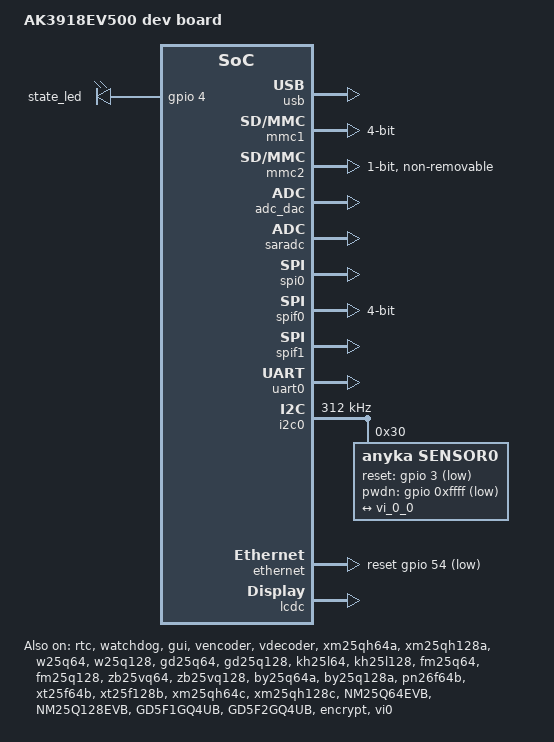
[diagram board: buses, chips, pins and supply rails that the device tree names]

/*
 * AK3918EV500 dev board dts
 *
 * Copyright (C) 2018 Anyka(Guangzhou) Microelectronics Technology Co., Ltd.
 *
 * Author: Feilong Dong <dong_feilong@anyka.com>
 *
 * This program is free software; you can redistribute it and/or modify
 * it under the terms of the GNU General Public License as published by
 * the Free Software Foundation; either version 2 of the License, or
 * (at your option) any later version.
 *
 * This program is distributed in the hope that it will be useful,
 * but WITHOUT ANY WARRANTY; without even the implied warranty of
 * MERCHANTABILITY or FITNESS FOR A PARTICULAR PURPOSE.  See the
 * GNU General Public License for more details.
 */

/dts-v1/;
#include "anycloud_ak37d.dtsi"
#include "anycloud_ak37d_lcd.dtsi"
#include "anycloud_ak37d_norflash.dtsi"
#include "anycloud_ak37d_nandflash1.dtsi"

/ {
    compatible = "anyka,ak3918ev500";
    model = "AK3918EV500 dev board";
	version = "V1.0.02";
};

&gpio {
    /* anyka,function sharepin func index according to table 2-1 sharepin-list */
    /* index: 0: PIN default func, 1: FUNCTION1, 2: FUNCTION2, 3: FUNCTION3, 4: FUNCTION4 */
    /* anyka,pull config value bit[31:24]--slew rate, bit[23:16]--ie, bit[15:8]--drive, bit[7:0]--pupd config */
    /* bit[31:24]--slew rate, 0: slow, 1: fast */
    /* bit[23:16]--ie, input enable, 0: disable, 1: enable */
    /* bit[15:8]--drive, drive strength, 4levels value: 0x0-0x3 */
    /* bit[7:0]--bit[7]: open drain 0:disable, 1:enable (only for gpio31/32);
				pupd config, bit[6:4] 1:enable/ 0:disable, bit[3:0] 0:select PU /1:select PD */

    dvp0_12bits_pins: dvp0_12bits_pins {
        anyka,pins = <25 26 27 28 111 112 113 114 115 116 117 118 119 120 121 122>;
        anyka,function = <1>;
        anyka,pull = <0x01010310>;
    };

    dvp0_10bits_pins: dvp0_10bits_pins {
        anyka,pins = <25 26 27 28 111 112 113 114 115 116 117 118 119 120 121 122>;
        anyka,function = <1>;
        anyka,pull = <0x01010310>;
    };

    dvp0_8bits_pins: dvp0_8bits_pins {
        anyka,pins = <25 26 27 28 111 112 113 114 115 116 117 118 119 120 121 122>;
        anyka,function = <1>;
        anyka,pull = <0x01010310>;
    };

    mipi0_2lane_pins: mipi0_2lane_pins {
        anyka,pins = <25 111 112 113 114 115 116>;
        anyka,function = <1 2 2 2 2 2 2>;
        anyka,pull = <0x01010310>;
    };

    mipi0_1lane_pins: mipi0_1lane_pins {
        anyka,pins = <25 111 112 113 114>;
        anyka,function = <1 2 2 2 2>;
        anyka,pull = <0x01010310>;
    };

    mipi1_2lane_pins: mipi1_2lane_pins {
        anyka,pins = <26 117 118 119 120 121 122>;
        anyka,function = <1 2 2 2 2 2 2>;
        anyka,pull = <0x01010310>;
    };

    mipi1_1lane_pins: mipi1_1lane_pins {
        anyka,pins = <26 117 118 119 120>;
        anyka,function = <1 2 2 2 2>;
        anyka,pull = <0x01010310>;
    };

    csi0_sclk_pin: csi0_sclk_pin {
        anyka,pins = <25>;
        anyka,function = <1>;
        anyka,pull = <0x01010310>;
    };

    csi1_sclk_pin: csi1_sclk_pin {
        anyka,pins = <26>;
        anyka,function = <1>;
        anyka,pull = <0x01010310>;
    };

    i2c0_pins: i2c0_pins {
        anyka,pins = <31 32>;
        anyka,function = <1>;
        anyka,pull = <0x01010380>;
        //anyka,pull = <0x01011110>;
    };
    mci0_pins: mci0_pins {
        anyka,pins = <33 34 35 36 37 38 39 40 41 42>;
        anyka,function = <1>;
        anyka,pull = <0x10010 0x10010 0x10010 0x10010 0x10010 0x10010 0x10010 0x10010 0x10010 0x10010>;/* 4 line */ 
    };

    mci1_pins: mci1_pins {
        anyka,pins = <43 44 45 46 47 48>;
        anyka,function = <1>;
        anyka,pull = <0x10010 0x10000 0x10010 0x10010 0x10010 0x10010>; /* 4 line */

        /* 1 line */
        /*
        anyka,pins = <43 44 45>;
        anyka,function = <1>;
        anyka,pull = <0x10010 0x10000 0x10010>;*/
    };
    
    mci1_idle_pins:mci1_idle_pins{
	anyka,pins = <43 44 45 46 47 48>;
	anyka,function = <0>;
	anyka,pull = <0x00000>; /* 4 line */
    };

    mci2_pins: mci2_pins {
    	/*
        anyka,pins = <91 92 93 94 95 96>;
        anyka,function = <2 2 3 3 3 3>;
        anyka,pull = <0x01010010 0x01010010 0x01010010 0x01010010 0x01010010 0x01010010>;
    	*/
	// 1 line with D[1] as sdio interrupt pin
        anyka,pins = <93 94 95 96>;
        anyka,function = <3>;
        anyka,pull = <0x01010010 0x01010010 0x01010010 0x01010010>;
    };

    tf_en_pins:tf_en_pins{
        anyka,pins = <5>;
	anyka,function = <0>;
        anyka,pull = <0x01000301>;
    };

    wifi_en_pins:wifi_en_pins{
        anyka,pins = <97>;
	    anyka,function = <0>;
        anyka,pull = <0x01000310>;
    };

 

    spiflash_pins: spiflash_pins {
        anyka,pins = <12 3 67 68 69 70>; /* 4 LINE mode, 12 is spi nor cs, 3 is spinand cs*/
        anyka,function = <1 0 0 0 0 0>;
        anyka,pull = <0x01010010>;
    };

    lcd_reset_pins: lcd_reset_pins {
	    anyka,pins = <83>;
	    anyka,function = <0>;
        anyka,pull = <0x01000310>;
    };

	gpiokey_pins:gpiokey_pins {
			anyka,pins = <98>;
			anyka,function = <0>;
			anyka,pull = <0x01010010>;
		};
				
    /*speak_en and linein_detect gpio setting */
    speak_pins: speak_pins {
        anyka,pins = <53>; 
        anyka,function = <0>;
        anyka,pull = <0x01010010>;
    };
    
    uart0_pins: uart0_pins {
        anyka,pins = <1 2>;
        anyka,function = <1>;
        anyka,pull = <0x01010010>;
    };
    
	phy_reset_pins: phy_reset_pins {		
		anyka,pins = <54>;		
	    anyka,function = <0>;
        anyka,pull = <0x01000010>;
    };

    ethernet_pins_rmii: ethernet_pins_rmii {
		anyka,pins 		= <10 11 13 14 15 19 20 23 24 49>;
        anyka,function 	= <1>;
        anyka,pull = <0x01010011 0x01010010 0x01010011 0x01010011 0x01010011 0x01010011 0x01010011 0x01010011 0x01010011 0x01010210>;
    };

    led_pins:led_pins {
        anyka,pins = <4>;
        anyka,function = <0>;
        anyka,pull = <0x00000010>;
    };
};

&rtc {
	 /*
	  * rtc osc_source_select, 1 means INTERNAL RC OSC, 0 means EXTERNAL XTAL
	  * if internal RC OSC is used to generate 32KH,time adjustment should be setting.(basic unit: ms)
	  */
	 osc-select = <1>;
	 adjust-time = <120000>;
   status = "okay";
};

&watchdog {
		/*max feed dog time = 357s, default setting time = 10s. */
    def_heartbeat = <10>;
    status = "okay";
};

&gui {
    status = "okay";
};

&vencoder {
    status = "okay";
};

&vdecoder {
    status = "okay";
};

&usb {
    status = "okay"; 
};

&mmc0 {
    bus-width = <0x8>;
    max-frequency = <50000000>;
    /*
     *  detect mode:
     *  (1) non-removable;
     *  (2) detect-gpio/detect-gpios: card detect using gpio
     *      for example:
     *      detect-gpio = <&gpio 77 1>;  or detect-gpios = <&gpio 77 1>;  
     *  (3) cd_clk: card detect using MCLK
     *  default is non-removable
     */
    cd_clk;
    /* if support highspeed, using cap-sd-highspeed */
    cap-sd-highspeed;
    pinctrl-names = "default";
    pinctrl-0 = <&mci0_pins>;
    status = "disable";
};

&mmc1 {
    bus-width = <0x4>;
    max-frequency = <50000000>;
    /*
     *  detect mode:
     *  (1) non-removable;
     *  (2) detect-gpio/detect-gpios: card detect using gpio
     *      for example:
     *      detect-gpio = <&gpio 77 1>;  or detect-gpios = <&gpio 77 1>;  
     *  (3) cd_clk: card detect using MCLK
     *  default is non-removable
     */
    cd_clk;
    /* if support highspeed, using cap-sd-highspeed */
    cap-sd-highspeed;
    pinctrl-names = "default","idle";
    pinctrl-0 = <&mci1_pins>,<&tf_en_pins>;
    pinctrl-1 = <&mci1_idle_pins>;
    /*
    * support tf card circuit enable function
    */
    power-pins = <&gpio 3 1>;
    power-inverted;
    status = "okay";
};

&mmc2 {
    bus-width = <0x1>;
    max-frequency = <50000000>;
    /*
     *  detect mode:
     *  (1) non-removable;
     *  (2) detect-gpio/detect-gpios: card detect using gpio
     *      detect-gpio = <&gpio 77 1>;
     *      or
     *      detect-gpios = <&gpio 77 1>;
     *  (3) cd_clk: card detect using MCLK
     *  default is non-removable
     */
    non-removable;
    /* if support sdio, using cap-sdio-irq*/
    cap-sdio-irq;
    /* if support highspeed, using cap-sd-highspeed */
    cap-sd-highspeed;
    pinctrl-names = "default";
    pinctrl-0 = <&mci2_pins>;
    /*
    * support sdio wifi circuit enable function
    */
    /*
    pinctrl-0 = <&mci2_pins>,<&wifi_en_pins>;
    pinctrl-1 = <&mci2_idle_pins>;
    power-pins = <&gpio 97 1>;  //power-pins is which wifi_en_pins describes
    */
    status = "okay";
};

&adc_dac {
    pinctrl-names = "default";
    pinctrl-0 = <&speak_pins>;
    speak-gpios = <&gpio 53 1>;
    /*the level of speak-gpios votage for power on audio: 0=low, 1=high*/
    speak-gpios-en = <1>;
    status = "okay";

    dev0 {
        snd-dev = <SND_CARD_DAC_PLAYBACK>;
        snd-type = <AK_PCM_DEV_PLAYBACK>;
        snd-idx = <0>;
    };

    dev1 {
        snd-dev = <SND_CARD_ADC_CAPTURE>;
        snd-type = <AK_PCM_DEV_CAPTURE>;
        snd-idx = <0>;
    };

    dev2 {
        snd-dev = <SND_CARD_DAC_LOOPBACK>;
        snd-type = <AK_PCM_DEV_LOOPBACK>;
        snd-idx = <0>;
    };
};

&saradc{
    /* SAR ADC VREF selection
    * 0:To select AVCC 3.3V as VREF for SAR ADC.
    * 1:To select 3.0V generated from BGR as VREF for SAR ADC.
    */
    vref-select = <1>;
    /*
    * 0:To disable BAT voltage divider. 
    * 1:To enable BAT voltage divider divided by 2.
    */
    battery-divider = <1>;
    /*
    * Sampling number
    * Read the sampling data for N times and then calculate the average value.
    * N ranges from 1 to 7.
    */
     sampling-num = <3>;
     status = "okay";
};

&spi0 {
    pinctrl-names = "default";
    pinctrl-0 = <&spiflash_pins>;
    cs-gpios = <&gpio 12 1>, <&gpio 3 1>;
    spi-bus-frequency = <80000000>;
    /*
     * cap-spi-highspeed;
     * if defined, means high speed controller(Maximum 80M/s);
     * if not, means normal speed controller(below 60M/s)
     */
    cap-spi-highspeed;
    status = "okay";
};

&spif0 {
	/* spi flash data bus width:
	** 1 means 1 wire mode.
	** 2 means 2 wire mode
	** 4 means 4 wire mode.
	** default: 4 wire mode.
	**/
	bus-width = <4>;
	status = "okay";
};

&spif1 {
   	status = "okay";
};

&xm25qh64a{
    status = "okay";
};

&xm25qh128a{
    status = "okay"; 
};

&w25q64{
    status = "okay"; 
};

&w25q128{
    status = "okay";
};

&gd25q64{
    status = "okay";
};

&gd25q128{
    status = "okay";
};

&kh25l64{
    status = "okay";
};

&kh25l128{
    status = "okay";
};

&fm25q64{
    status = "okay";
};

&fm25q128{
    status = "okay";
};

&zb25vq64{
    status = "okay";
};

&zb25vq128{
    status = "okay";
};

&by25q64a{
    status = "okay";
};

&by25q128a{
    status = "okay";
};

&pn26f64b{
    status = "okay";
};

&xt25f64b{
    status = "okay";
};

&xt25f128b{
    status = "okay";
};

&xm25qh64c{
    status = "okay";
};

&xm25qh128c{
    status = "okay";
};

&NM25Q64EVB{
    status = "okay";
};

&NM25Q128EVB{
    status = "okay";
};
&GD5F1GQ4UB{
    status = "okay";
};

&GD5F2GQ4UB{
    status = "okay";
};
/************
&FM25S01A{
    status = "okay";
};

&FM25S02A{
    status = "okay";
};

&GD5F2GQ5UEYIG{
    status = "okay";
};

&GD5F1GQ5UEY1G{
    status = "okay";
};
*********/

&uart0 {
    pinctrl-names = "default";
	pinctrl-0 = <&uart0_pins>;
    status = "okay";
};

&i2c0 {
    pinctrl-names = "default";
    pinctrl-0 = <&i2c0_pins>;

    clock-frequency = <312000>;
    sda-delay = <100>;
    status = "okay";
	#address-cells = <1>;
	#size-cells = <0>;

	sensor0: camera@0x30{
		compatible = "anyka,sensor0";
		reg = <0x30>;

		/*0xffff means the gpio is invalid*/
		reset-gpio = <&gpio 3 1>;
		pwdn-gpio = <&gpio 0xffff 1>;

		port {
			sensor0_0: endpoint@0 {
				remote-endpoint = <&vi_0_0>;
			};
		};
	};
};

&i2c1 {
    pinctrl-names = "default";
    //pinctrl-0 = <&i2c1_pins>;
    
    clock-frequency = <312000>;
    sda-delay = <100>;
    status = "disable";
};


&encrypt{
   /*
    * encrypt-mode
    * 0 = CRYPTO_SINGLE_GROUP_MODE ; 1 = CRYPTO_MULTI_GROUP_MODE
    */
    encrypt-mode = <1>;
    status = "okay";
};

&ethernet {
    pinctrl-names = "default";
    pinctrl-0 = <&ethernet_pins_rmii &phy_reset_pins>;
    reset-gpios = <&gpio 54  1>;
	phy-address = <1>;
    status = "okay";
};

&leds {
    pinctrl-names = "default";
    pinctrl-0 = <&led_pins>;
    status = "okay";

    state_led {
        label = "state_led";
        gpios = <&gpio 4 GPIO_ACTIVE_HIGH>;
    };
};

&adkeys {
	status = "disable";
};

&gpiokeys {
		#address-cells = <1>;
		#size-cells = <0>;
		pinctrl-0 = <&gpiokey_pins>;
		pinctrl-names = "default";
		status = "okay";
		
		key_detect {
		label = "key_detect";
		gpios = <&gpio 98 GPIO_ACTIVE_HIGH>;
		linux,code = <116>;
		debounce-interval = <100>;
		wakeup-source;
		};
};

&motor0 {
	status = "disable";
};

&motor1 {
	status = "disable";
};

&pwm0 {
	pinctrl-names = "default";
	/* frequency of PWM ranges from 92H to 6MHz.*/
	pwm-frequency = <2000000>;
	//pinctrl-0 = <&pwm0_pins>;
	status = "disable";
};

&pwm1 {
	pinctrl-names = "default";
	/* frequency of PWM ranges from 92H to 6MHz.*/
	pwm-frequency = <2000000>;
	//pinctrl-0 = <&pwm1_pins>;
	status = "disable";
};

&pwm2 {
	pinctrl-names = "default";
	/* frequency of PWM ranges from 92H to 6MHz.*/
	pwm-frequency = <2000000>;
	//pinctrl-0 = <&pwm2_pins>;
	status = "disable";
};

&pwm3 {
	pinctrl-names = "default";
	/* frequency of PWM ranges from 92H to 6MHz.*/
	pwm-frequency = <2000000>;
	//pinctrl-0 = <&pwm3_pins>;
	status = "disable";
};

&lcdc {
    pinctrl-names = "default";
    pinctrl-0 = <&lcd_reset_pins>; //<&lcd_pins>,<&lcd_reset_pins>; //lcd_pins for rgb lcd, lcd_reset_pins only for mipi lcd
    reset-pins = <&gpio 83 1>; //only for mipi lcd
    
    lcd-logo-width = <600>;
    lcd-logo-height = <165>;
    //[fmt1:fmt0] 00 16bits input(RGB565 or BGR565)
    //[fmt1:fmt0] 01 24bits input(RGB888 or BGR888)
    //[fmt1:fmt0] 10 or 11 32bits input(ARGB888 ABGR888 RGBA888 BGRA888)
    lcd-logo-fmt0 = <1>;
    lcd-logo-fmt1 = <0>;
    lcd-logo-rgb-seq = <1>; //0 for BGR, 1 for RGB
    
    lcd-fb-type = <1>; //0:single buffer; 1:double buffer
    status = "okay";
};

&vi0{
	pinctrl-names = "dvp0_12bits", "dvp0_10bits", "dvp0_8bits",
		"mipi0_2lane", "mipi0_1lane", "mipi1_2lane", "mipi1_1lane",
		"csi0_sclk", "csi1_sclk";
    pinctrl-0 = <&dvp0_12bits_pins>;
    pinctrl-1 = <&dvp0_10bits_pins>;
    pinctrl-2 = <&dvp0_8bits_pins>;
    pinctrl-3 = <&mipi0_2lane_pins>;
    pinctrl-4 = <&mipi0_1lane_pins>;
    pinctrl-5 = <&mipi1_2lane_pins>;
    pinctrl-6 = <&mipi1_1lane_pins>;
    pinctrl-7 = <&csi0_sclk_pin>;
    pinctrl-8 = <&csi1_sclk_pin>;
    status = "okay";

	port@0 {
		#address-cells = <1>;
		#size-cells = <0>;

		vi_0_0: endpoint@0 {
			reg = <0>;
			remote-endpoint = <&sensor0_0>;
		};
	};
};
